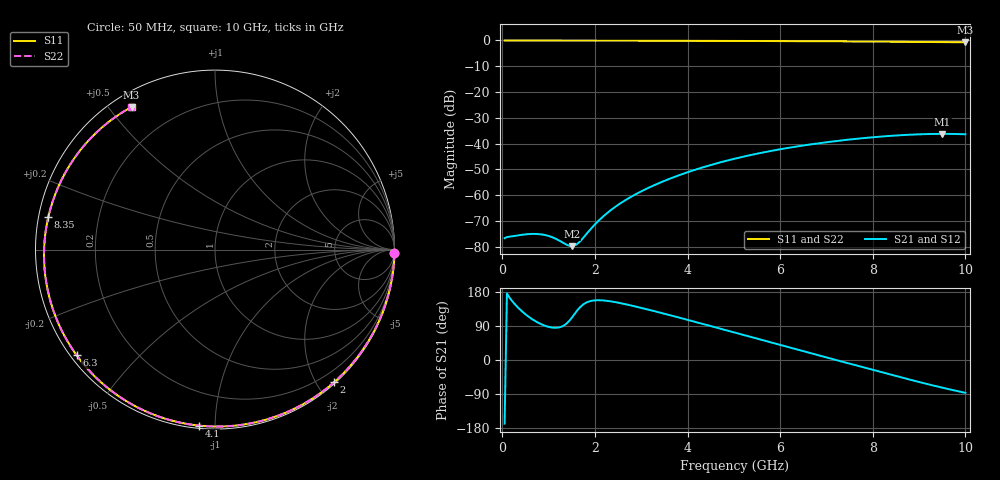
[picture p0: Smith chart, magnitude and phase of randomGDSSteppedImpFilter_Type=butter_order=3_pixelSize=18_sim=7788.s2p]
! freq	dB(S11)	phase(S11)	dB(S12)	phase(S12)
!  dB(S21)	phase(S21)	dB(S22)	phase(S22)
!S-par simulation data
#  GHz  S  DB  R 50
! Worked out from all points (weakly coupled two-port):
!   200 points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, 50 MHz to 10 GHz, reference 50 ohm
!   highest |S21| = -36.23 dB at 9.5 GHz (marker M1); lowest = -79.8 dB at 1.5 GHz (marker M2)
!   lowest |S11| = -0.7 dB at 10 GHz (marker M3), VSWR 24.22, Z = 2.74 + j28.6 ohm
!   |S11| at or under -10 dB: nowhere
!   |S22| runs from -0.7 to 0.0 dB; largest |S21 - S12| = 0
!   S11 on the Smith chart (normalised r, x): 50 MHz: 0, -93; 2 GHz: 0.02, -2.24; 4.1 GHz: 0.01, -0.91; 6.3 GHz: 0.02, -0.34; 8.35 GHz: 0.03, +0.10; 10 GHz: 0.05, +0.57
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0.05  -0.00 -1.2  -76.68 -168.0  -76.68 -168.0  -0.00 -1.2
0.5  -0.01 -12.3  -75.21 120.6  -75.21 120.6  -0.01 -12.3
0.8  -0.02 -19.6  -75.13 96.8  -75.13 96.8  -0.02 -19.6
1.05  -0.03 -25.6  -76.13 86.2  -76.13 86.2  -0.03 -25.6
1.5  -0.05 -36.3  -79.79 111.3  -79.79 111.3  -0.05 -36.3
1.6  -0.05 -38.7  -79.18 127.8  -79.18 127.8  -0.05 -38.7
1.75  -0.05 -42.2  -76.51 146.8  -76.51 146.8  -0.05 -42.2
2  -0.06 -48.1  -71.35 157.4  -71.35 157.4  -0.06 -48.1
2.3  -0.07 -55.0  -66.42 155.5  -66.42 155.5  -0.07 -55.0
2.6  -0.08 -61.9  -62.60 148.8  -62.60 148.8  -0.08 -61.9
2.95  -0.09 -69.9  -58.99 139.0  -58.99 139.0  -0.09 -69.9
3.4  -0.11 -79.9  -55.21 125.2  -55.21 125.2  -0.11 -79.9
4.1  -0.13 -95.3  -50.53 102.7  -50.53 102.7  -0.13 -95.3
5.05  -0.18 -115.7  -45.72 71.2  -45.72 71.2  -0.18 -115.7
5.65  -0.22 -128.6  -43.38 51.1  -43.38 51.1  -0.22 -128.6
6.3  -0.27 -142.7  -41.30 29.6  -41.30 29.6  -0.27 -142.7
6.7  -0.30 -151.5  -40.21 16.5  -40.21 16.5  -0.30 -151.5
7.55  -0.38 -171.1  -38.33 -11.3  -38.33 -11.3  -0.38 -171.1
8.35  -0.48 169.0  -37.05 -37.4  -37.05 -37.4  -0.48 169.0
8.95  -0.56 152.7  -36.44 -56.6  -36.44 -56.6  -0.56 152.7
9.5  -0.64 136.4  -36.23 -73.0  -36.23 -73.0  -0.64 136.5
10  -0.72 120.3  -36.39 -86.7  -36.39 -86.7  -0.72 120.4
